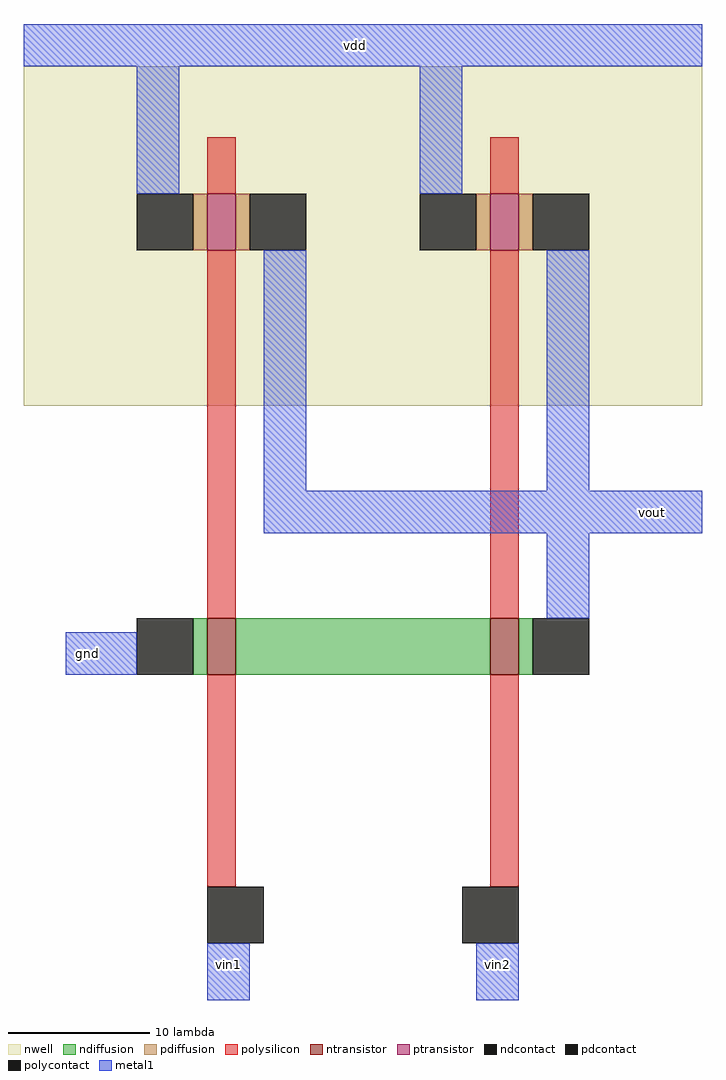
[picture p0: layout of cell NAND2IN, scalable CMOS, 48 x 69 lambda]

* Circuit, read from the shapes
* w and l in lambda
.subckt NAND2IN gnd vdd vin1 vin2 vout
M1 n1 vin1 gnd VSUBS nfet w=4 l=2
M2 vout vin2 n1 VSUBS nfet w=4 l=2
M3 vout vin1 vdd n2 pfet w=4 l=2
M4 vout vin2 vdd n2 pfet w=4 l=2
.ends

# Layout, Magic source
magic
tech scmos
<< nwell >>
rect -16 -4 32 20
<< ntransistor >>
rect -3 -23 -1 -19
rect 17 -23 19 -19
<< ptransistor >>
rect -3 7 -1 11
rect 17 7 19 11
<< ndiffusion >>
rect -4 -23 -3 -19
rect -1 -23 17 -19
rect 19 -23 20 -19
<< pdiffusion >>
rect -4 7 -3 11
rect -1 7 0 11
rect 16 7 17 11
rect 19 7 20 11
<< ndcontact >>
rect -8 -23 -4 -19
rect 20 -23 24 -19
<< pdcontact >>
rect -8 7 -4 11
rect 0 7 4 11
rect 12 7 16 11
rect 20 7 24 11
<< polysilicon >>
rect -3 11 -1 15
rect 17 11 19 15
rect -3 -19 -1 7
rect 17 -19 19 7
rect -3 -38 -1 -23
rect 17 -38 19 -23
<< polycontact >>
rect -3 -42 1 -38
rect 15 -42 19 -38
<< metal1 >>
rect -16 20 32 23
rect -8 11 -5 20
rect 12 11 15 20
rect 1 -10 4 7
rect 21 -10 24 7
rect 1 -13 32 -10
rect 21 -19 24 -13
rect -13 -23 -8 -20
rect -3 -46 0 -42
rect 16 -46 19 -42
<< labels >>
rlabel metal1 7 21 8 22 5 vdd
rlabel metal1 28 -12 29 -11 7 vout
rlabel metal1 -12 -22 -11 -21 3 gnd
rlabel metal1 -2 -44 -1 -43 1 vin1
rlabel metal1 17 -44 18 -43 1 vin2
<< end >>
